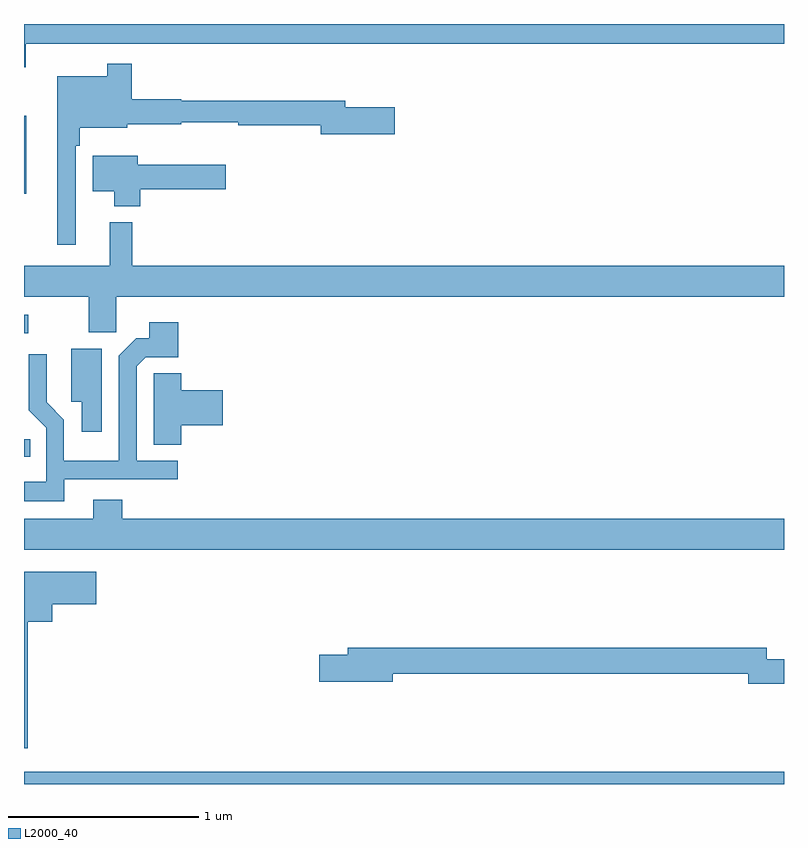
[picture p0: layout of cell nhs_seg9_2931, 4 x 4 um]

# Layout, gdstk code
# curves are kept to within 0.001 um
import gdstk
lib = gdstk.Library(unit=1e-6, precision=1e-09)
def R(c, l, rs):  # rectangles x0, y0, x1, y1
    for r in rs: c.add(gdstk.rectangle(r[:2], r[2:], *l))
def P(c, l, *ps):  # polygons
    for p in ps: c.add(gdstk.Polygon(p, *l))
L2000_40 = (2000, 40)

nhs_seg9_2931 = lib.new_cell('nhs_seg9_2931')
R(nhs_seg9_2931, L2000_40, [(279,1216.5,283,1216.564), (279,1218.223,279.032,1218.315), (279,1218.873,279.022,1218.969), (279,1219.607,279.013,1220.017)])
P(nhs_seg9_2931, L2000_40, [(279.01,1220.396),(283,1220.396),(283,1220.5),(279,1220.5),(279,1220.273),(279.01,1220.273)],
  [(279.273,1219.859),(279.293,1219.859),(279.293,1219.955),(279.543,1219.955),(279.543,1219.973),(279.828,1219.973),(279.828,1219.984),(280.128,1219.984),(280.128,1219.966),(280.562,1219.966),(280.562,1219.919),(280.951,1219.919),(280.951,1220.061),(280.69,1220.061),(280.69,1220.095),(279.828,1220.095),(279.828,1220.103),(279.566,1220.103),(279.566,1220.29),(279.438,1220.29),(279.438,1220.224),(279.176,1220.224),(279.176,1219.338),(279.273,1219.338)],
  [(279.611,1219.63),(280.063,1219.63),(280.063,1219.759),(279.598,1219.759),(279.598,1219.807),(279.362,1219.807),(279.362,1219.619),(279.476,1219.619),(279.476,1219.541),(279.611,1219.541)],
  [(279.486,1219.064),(283,1219.064),(283,1219.228),(279.569,1219.228),(279.569,1219.456),(279.452,1219.456),(279.452,1219.228),(279,1219.228),(279,1219.064),(279.34,1219.064),(279.34,1218.877),(279.486,1218.877)],
  [(279.211,1218.105),(279.808,1218.105),(279.808,1218.201),(279.594,1218.201),(279.594,1218.699),(279.642,1218.747),(279.812,1218.747),(279.812,1218.931),(279.659,1218.931),(279.659,1218.846),(279.591,1218.846),(279.498,1218.753),(279.498,1218.202),(279.21,1218.202),(279.21,1218.418),(279.119,1218.51),(279.12,1218.763),(279.024,1218.763),(279.024,1218.468),(279.117,1218.375),(279.117,1218.091),(279,1218.091),(279,1217.987),(279.211,1217.987)],
  [(279.409,1218.792),(279.248,1218.792),(279.248,1218.513),(279.305,1218.513),(279.305,1218.354),(279.409,1218.354)],
  [(279.827,1218.389),(280.045,1218.389),(280.045,1218.572),(279.827,1218.572),(279.827,1218.662),(279.684,1218.662),(279.684,1218.554),(279.683,1218.554),(279.683,1218.286),(279.827,1218.286)],
  [(283,1217.896),(279.518,1217.896),(279.518,1217.995),(279.365,1217.995),(279.365,1217.896),(279,1217.896),(279,1217.732),(283,1217.732)],
  [(279.019,1217.354),(279.148,1217.354),(279.148,1217.447),(279.379,1217.447),(279.379,1217.617),(279,1217.617),(279,1216.689),(279.019,1216.689)],
  [(283,1217.156),(282.909,1217.156),(282.909,1217.216),(280.703,1217.216),(280.703,1217.18),(280.554,1217.18),(280.554,1217.038),(280.942,1217.038),(280.942,1217.08),(282.813,1217.08),(282.813,1217.028),(283,1217.028)])

lib.write_gds('nhs_seg9_2931.gds')
